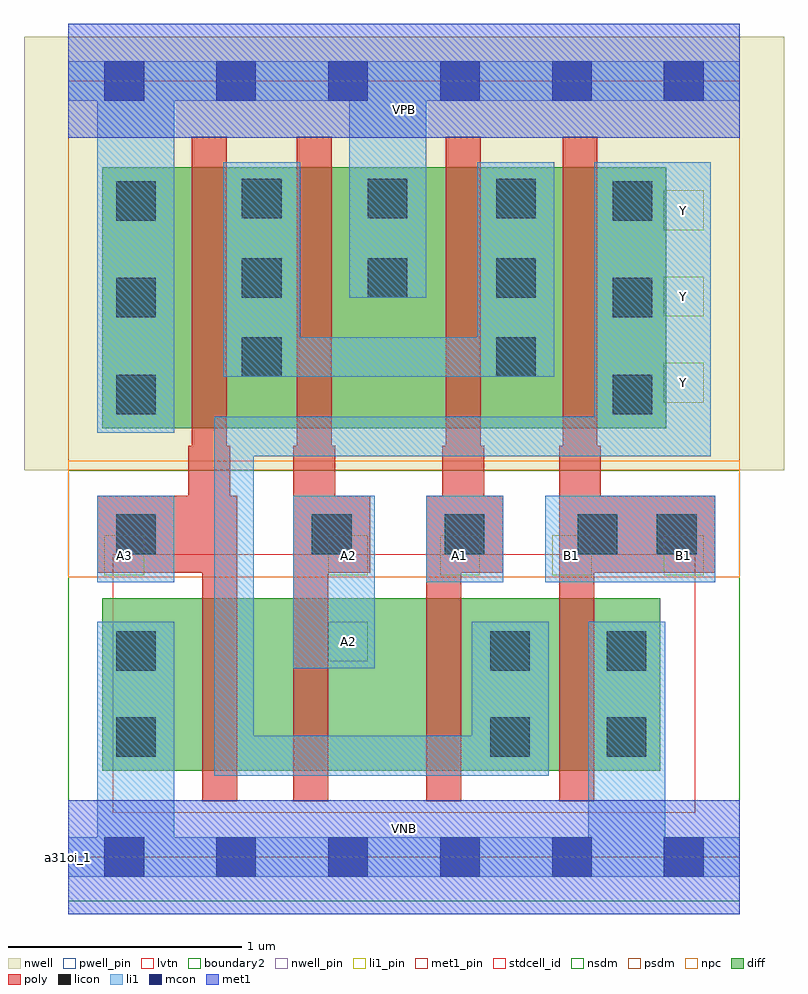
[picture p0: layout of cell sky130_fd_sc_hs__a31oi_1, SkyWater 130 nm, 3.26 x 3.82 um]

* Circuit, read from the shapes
.subckt sky130_fd_sc_hs__a31oi_1 A1 A2 A3 B1 VGND VNB VPB VPWR Y
XM1 n1 A3 VGND VNB sky130_fd_pr__nfet_01v8_lvt w=0.74 l=0.15
XM2 n2 A2 n1 VNB sky130_fd_pr__nfet_01v8_lvt w=0.74 l=0.15
XM3 Y A1 n2 VNB sky130_fd_pr__nfet_01v8_lvt w=0.74 l=0.15
XM4 VGND B1 Y VNB sky130_fd_pr__nfet_01v8_lvt w=0.74 l=0.15
XM5 n3 A3 VPWR VPB sky130_fd_pr__pfet_01v8 w=1.12 l=0.15
XM6 VPWR A2 n3 VPB sky130_fd_pr__pfet_01v8 w=1.12 l=0.15
XM7 n3 A1 VPWR VPB sky130_fd_pr__pfet_01v8 w=1.12 l=0.15
XM8 Y B1 n3 VPB sky130_fd_pr__pfet_01v8 w=1.12 l=0.15
.ends

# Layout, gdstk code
import gdstk
lib = gdstk.Library(unit=1e-6, precision=1e-09)
def R(c, l, rs):  # rectangles x0, y0, x1, y1
    for r in rs: c.add(gdstk.rectangle(r[:2], r[2:], *l))
def A(c, l, x, y, w, h, nx, ny, dx, dy):  # array of equal rectangles
    R(c, l, [(x+i*dx, y+j*dy, x+i*dx+w, y+j*dy+h) for i in range(nx) for j in range(ny)])
def P(c, l, *ps):  # polygons
    for p in ps: c.add(gdstk.Polygon(p, *l))
nwell_pin = (64, 16)
nwell = (64, 20)
diff = (65, 20)
poly = (66, 20)
licon = (66, 44)
li1_pin = (67, 16)
li1 = (67, 20)
mcon = (67, 44)
met1_pin = (68, 16)
met1 = (68, 20)
stdcell_id = (81, 4)
nsdm = (93, 44)
psdm = (94, 20)
npc = (95, 20)
pwell_pin = (122, 16)
lvtn = (125, 44)
boundary2 = (236, 0)

sky130_fd_sc_hs__a31oi_1 = lib.new_cell('sky130_fd_sc_hs__a31oi_1')
R(sky130_fd_sc_hs__a31oi_1, nwell_pin, [(0,3.085,2.88,3.33)])
R(sky130_fd_sc_hs__a31oi_1, nwell, [(-0.19,1.66,3.07,3.52)])
R(sky130_fd_sc_hs__a31oi_1, diff, [(0.145,0.37,2.54,1.11), (0.145,1.84,2.565,2.96)])
P(sky130_fd_sc_hs__a31oi_1, poly, [(2.775,1.55),(2.285,1.55),(2.285,1.765),(2.27,1.765),(2.27,3.09),(2.12,3.09),(2.12,1.765),(2.105,1.765),(2.105,0.24),(2.255,0.24),(2.255,1.22),(2.775,1.22)],
  [(1.865,1.55),(1.785,1.55),(1.785,1.765),(1.77,1.765),(1.77,3.09),(1.62,3.09),(1.62,1.765),(1.605,1.765),(1.605,1.55),(1.535,1.55),(1.535,0.24),(1.685,0.24),(1.685,1.22),(1.865,1.22)],
  [(1.295,1.55),(1.145,1.55),(1.145,1.765),(1.13,1.765),(1.13,3.09),(0.98,3.09),(0.98,1.765),(0.965,1.765),(0.965,0.24),(1.115,0.24),(1.115,1.22),(1.295,1.22)],
  [(0.725,1.55),(0.695,1.55),(0.695,1.765),(0.68,1.765),(0.68,3.09),(0.53,3.09),(0.53,1.765),(0.515,1.765),(0.515,1.55),(0.125,1.55),(0.125,1.22),(0.575,1.22),(0.575,0.24),(0.725,0.24)])
A(sky130_fd_sc_hs__a31oi_1, licon, 1.045, 1.3, 0.17, 0.17, 3, 1, 0.57, 0)
A(sky130_fd_sc_hs__a31oi_1, licon, 0.205, 1.9, 0.17, 0.17, 1, 3, 0, 0.415)
A(sky130_fd_sc_hs__a31oi_1, licon, 2.335, 1.9, 0.17, 0.17, 1, 3, 0, 0.415)
A(sky130_fd_sc_hs__a31oi_1, licon, 0.745, 2.06, 0.17, 0.17, 1, 3, 0, 0.34)
A(sky130_fd_sc_hs__a31oi_1, licon, 1.835, 2.06, 0.17, 0.17, 1, 3, 0, 0.34)
R(sky130_fd_sc_hs__a31oi_1, licon, [(0.205,0.43,0.375,0.6), (1.81,0.43,1.98,0.6), (2.31,0.43,2.48,0.6), (0.205,0.8,0.375,0.97), (1.81,0.8,1.98,0.97), (2.31,0.8,2.48,0.97), (0.205,1.3,0.375,1.47), (2.525,1.3,2.695,1.47), (1.285,2.4,1.455,2.57), (1.285,2.74,1.455,2.91)])
A(sky130_fd_sc_hs__a31oi_1, li1_pin, 1.115, 1.21, 0.17, 0.17, 4, 1, 0.48, 0)
A(sky130_fd_sc_hs__a31oi_1, li1_pin, 2.555, 1.95, 0.17, 0.17, 1, 3, 0, 0.37)
R(sky130_fd_sc_hs__a31oi_1, li1_pin, [(1.115,0.84,1.285,1.01), (0.155,1.21,0.325,1.38)])
R(sky130_fd_sc_hs__a31oi_1, li1, [(0.965,0.81,1.315,1.55), (0.125,1.18,0.455,1.55), (1.535,1.18,1.865,1.55), (2.045,1.18,2.775,1.55)])
P(sky130_fd_sc_hs__a31oi_1, li1, [(0,-0.085),(0,0.085),(0.125,0.085),(0.125,1.01),(0.455,1.01),(0.455,0.085),(2.23,0.085),(2.23,1.01),(2.56,1.01),(2.56,0.085),(2.88,0.085),(2.88,-0.085)],
  [(0,3.245),(0,3.415),(2.88,3.415),(2.88,3.245),(1.535,3.245),(1.535,2.4),(1.205,2.4),(1.205,3.245),(0.455,3.245),(0.455,1.82),(0.125,1.82),(0.125,3.245)],
  [(2.255,1.89),(2.255,2.98),(2.755,2.98),(2.755,1.72),(0.795,1.72),(0.795,0.52),(1.73,0.52),(1.73,1.01),(2.06,1.01),(2.06,0.35),(0.625,0.35),(0.625,1.89)],
  [(1.755,2.23),(1.755,2.98),(2.085,2.98),(2.085,2.06),(0.665,2.06),(0.665,2.98),(0.995,2.98),(0.995,2.23)])
A(sky130_fd_sc_hs__a31oi_1, mcon, 0.155, -0.085, 0.17, 0.17, 6, 2, 0.48, 3.33)
R(sky130_fd_sc_hs__a31oi_1, met1_pin, [(0,0,2.88,0.245), (0,3.085,2.88,3.33)])
R(sky130_fd_sc_hs__a31oi_1, met1, [(0,-0.245,2.88,0.245), (0,3.085,2.88,3.575)])
R(sky130_fd_sc_hs__a31oi_1, stdcell_id, [(0,0,2.88,3.33)])
R(sky130_fd_sc_hs__a31oi_1, nsdm, [(0,-0.19,2.88,1.66)])
R(sky130_fd_sc_hs__a31oi_1, psdm, [(0,1.66,2.88,3.52)])
R(sky130_fd_sc_hs__a31oi_1, npc, [(0,1.2,2.88,1.7)])
R(sky130_fd_sc_hs__a31oi_1, pwell_pin, [(0,0,2.88,0.245)])
R(sky130_fd_sc_hs__a31oi_1, lvtn, [(0.19,0.19,2.69,1.3)])
R(sky130_fd_sc_hs__a31oi_1, boundary2, [(0,0,2.88,3.33)])
sky130_fd_sc_hs__a31oi_1.add(gdstk.Label('a31oi_1', (0,0), layer=83, texttype=44))
sky130_fd_sc_hs__a31oi_1.add(gdstk.Label('VNB', (1.44,0.123), layer=64, texttype=59))
sky130_fd_sc_hs__a31oi_1.add(gdstk.Label('VPB', (1.44,3.208), layer=64, texttype=5))
sky130_fd_sc_hs__a31oi_1.add(gdstk.Label('VPWR', (1.44,3.208), layer=68, texttype=5))
sky130_fd_sc_hs__a31oi_1.add(gdstk.Label('VGND', (1.44,0.123), layer=68, texttype=5))
sky130_fd_sc_hs__a31oi_1.add(gdstk.Label('Y', (2.64,2.035), layer=67, texttype=5))
sky130_fd_sc_hs__a31oi_1.add(gdstk.Label('Y', (2.64,2.405), layer=67, texttype=5))
sky130_fd_sc_hs__a31oi_1.add(gdstk.Label('Y', (2.64,2.775), layer=67, texttype=5))
sky130_fd_sc_hs__a31oi_1.add(gdstk.Label('A3', (0.24,1.295), layer=67, texttype=5))
sky130_fd_sc_hs__a31oi_1.add(gdstk.Label('B1', (2.16,1.295), layer=67, texttype=5))
sky130_fd_sc_hs__a31oi_1.add(gdstk.Label('B1', (2.64,1.295), layer=67, texttype=5))
sky130_fd_sc_hs__a31oi_1.add(gdstk.Label('A2', (1.2,0.925), layer=67, texttype=5))
sky130_fd_sc_hs__a31oi_1.add(gdstk.Label('A2', (1.2,1.295), layer=67, texttype=5))
sky130_fd_sc_hs__a31oi_1.add(gdstk.Label('A1', (1.68,1.295), layer=67, texttype=5))

lib.write_gds('sky130_fd_sc_hs__a31oi_1.gds')
